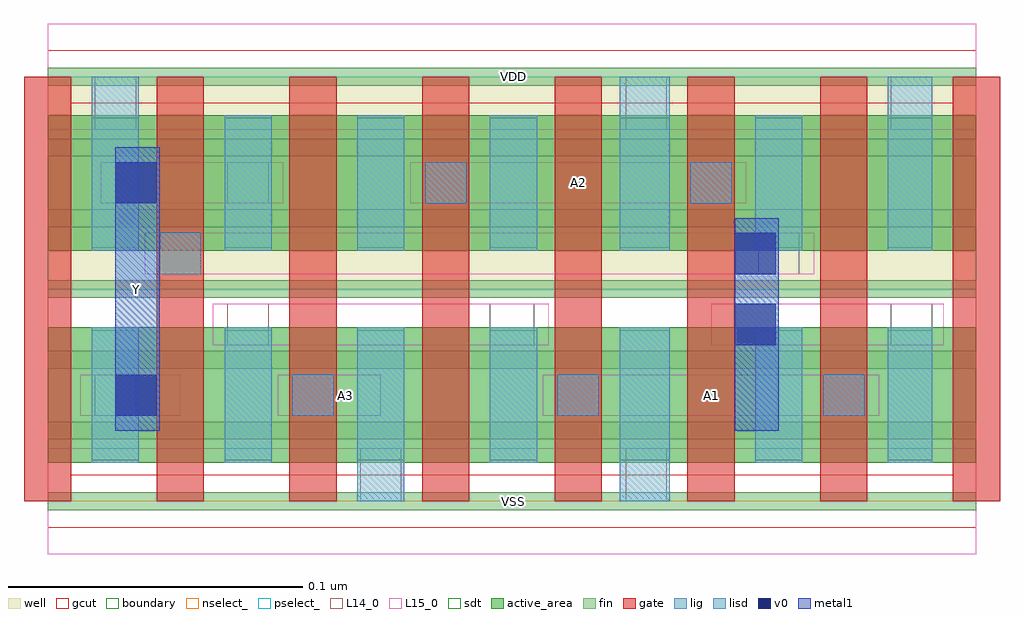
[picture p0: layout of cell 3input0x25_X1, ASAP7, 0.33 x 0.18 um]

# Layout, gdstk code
import gdstk
lib = gdstk.Library(unit=1e-6, precision=1e-09)
def R(c, l, rs):  # rectangles x0, y0, x1, y1
    for r in rs: c.add(gdstk.rectangle(r[:2], r[2:], *l))
def A(c, l, x, y, w, h, nx, ny, dx, dy):  # array of equal rectangles
    R(c, l, [(x+i*dx, y+j*dy, x+i*dx+w, y+j*dy+h) for i in range(nx) for j in range(ny)])
def P(c, l, *ps):  # polygons
    for p in ps: c.add(gdstk.Polygon(p, *l))
well = (1, 0)
fin = (2, 0)
gate = (7, 0)
gcut = (10, 0)
active_area = (11, 0)
nselect_ = (12, 0)
pselect_ = (13, 0)
L14_0 = (14, 0)
L15_0 = (15, 0)
lig = (16, 0)
lisd = (17, 0)
v0 = (18, 0)
metal1 = (19, 0)
sdt = (88, 0)
boundary = (100, 0)

c_3input0x25_x1 = lib.new_cell('3input0x25_X1')
R(c_3input0x25_x1, well, [(0,0.072,0.315,0.144)])
A(c_3input0x25_x1, fin, 0, -0.003, 0.315, 0.006, 1, 7, 0, 0.024)
A(c_3input0x25_x1, gate, -0.008, 0, 0.016, 0.144, 8, 1, 0.045, 0)
P(c_3input0x25_x1, gcut, [(0,-0.009),(0,0),(-0.008,0),(-0.008,0.135),(0.008,0.135),(0.008,0.009),(0.307,0.009),(0.307,0.135),(-0.008,0.135),(-0.008,0.144),(0,0.144),(0,0.153),(0.315,0.153),(0.315,0.144),(0.323,0.144),(0.323,0),(0.315,0),(0.315,-0.009)])
R(c_3input0x25_x1, active_area, [(0,0.013,0.315,0.059), (0,0.085,0.315,0.131)])
R(c_3input0x25_x1, nselect_, [(0,0,0.315,0.072)])
R(c_3input0x25_x1, pselect_, [(0,0.072,0.315,0.144)])
A(c_3input0x25_x1, L14_0, 0.083, 0.029, 0.014, 0.014, 3, 1, 0.09, 0)
R(c_3input0x25_x1, L14_0, [(0.106,0,0.12,0.018), (0.196,0,0.21,0.018), (0.016,0.029,0.03,0.043), (0.061,0.053,0.075,0.067), (0.15,0.053,0.165,0.067), (0.286,0.053,0.3,0.067), (0.038,0.077,0.052,0.091), (0.241,0.077,0.255,0.091), (0.061,0.101,0.075,0.115), (0.128,0.101,0.142,0.115), (0.218,0.101,0.232,0.115), (0.016,0.126,0.03,0.144), (0.196,0.126,0.21,0.144), (0.286,0.126,0.3,0.144)])
R(c_3input0x25_x1, L15_0, [(0,-0.018,0.315,0.018), (0.011,0.029,0.045,0.043), (0.078,0.029,0.113,0.043), (0.168,0.029,0.282,0.043), (0.056,0.053,0.17,0.067), (0.225,0.053,0.304,0.067), (0.033,0.077,0.26,0.091), (0.018,0.101,0.08,0.115), (0.123,0.101,0.237,0.115), (0,0.126,0.315,0.162)])
A(c_3input0x25_x1, lig, 0.083, 0.029, 0.014, 0.014, 3, 1, 0.09, 0)
R(c_3input0x25_x1, lig, [(0.038,0.077,0.052,0.091), (0.128,0.101,0.142,0.115), (0.218,0.101,0.232,0.115)])
A(c_3input0x25_x1, lisd, 0.06, 0.013, 0.016, 0.046, 3, 1, 0.09, 0)
A(c_3input0x25_x1, lisd, 0.06, 0.085, 0.016, 0.046, 3, 1, 0.045, 0)
R(c_3input0x25_x1, lisd, [(0.105,0,0.121,0.059), (0.194,0,0.211,0.059), (0.015,0.013,0.031,0.059), (0.285,0.013,0.3,0.059), (0.015,0.085,0.031,0.144), (0.194,0.085,0.211,0.144), (0.24,0.085,0.256,0.131), (0.285,0.085,0.3,0.144)])
R(c_3input0x25_x1, v0, [(0.023,0.029,0.037,0.043), (0.233,0.053,0.247,0.067), (0.233,0.077,0.247,0.091), (0.023,0.101,0.037,0.115)])
R(c_3input0x25_x1, metal1, [(0.023,0.024,0.038,0.12), (0.233,0.024,0.248,0.096)])
A(c_3input0x25_x1, sdt, 0.015, 0.014, 0.016, 0.044, 4, 2, 0.045, 0.072)
R(c_3input0x25_x1, sdt, [(0.194,0.014,0.211,0.058), (0.24,0.014,0.256,0.058), (0.285,0.014,0.3,0.058), (0.194,0.086,0.211,0.13), (0.24,0.086,0.256,0.13), (0.285,0.086,0.3,0.13)])
R(c_3input0x25_x1, boundary, [(0,0,0.315,0.144)])
c_3input0x25_x1.add(gdstk.Label('A2', (0.18,0.108), layer=15, texttype=251))
c_3input0x25_x1.add(gdstk.Label('VSS', (0.158,0), layer=15, texttype=251))
c_3input0x25_x1.add(gdstk.Label('VDD', (0.158,0.144), layer=15, texttype=251))
c_3input0x25_x1.add(gdstk.Label('A1', (0.225,0.036), layer=15, texttype=251))
c_3input0x25_x1.add(gdstk.Label('VSS', (0.158,0), layer=15, texttype=251))
c_3input0x25_x1.add(gdstk.Label('VDD', (0.158,0.144), layer=15, texttype=251))
c_3input0x25_x1.add(gdstk.Label('A3', (0.101,0.036), layer=15, texttype=251))
c_3input0x25_x1.add(gdstk.Label('VSS', (0.158,0), layer=15, texttype=251))
c_3input0x25_x1.add(gdstk.Label('VDD', (0.158,0.144), layer=15, texttype=251))
c_3input0x25_x1.add(gdstk.Label('VSS', (0.158,0), layer=15, texttype=251))
c_3input0x25_x1.add(gdstk.Label('VDD', (0.158,0.144), layer=15, texttype=251))
c_3input0x25_x1.add(gdstk.Label('VSS', (0.158,0), layer=3, texttype=251))
c_3input0x25_x1.add(gdstk.Label('VSS', (0.158,0), layer=3, texttype=251))
c_3input0x25_x1.add(gdstk.Label('VSS', (0.158,0), layer=3, texttype=251))
c_3input0x25_x1.add(gdstk.Label('VSS', (0.158,0), layer=3, texttype=251))
c_3input0x25_x1.add(gdstk.Label('VDD', (0.158,0.144), layer=1, texttype=251))
c_3input0x25_x1.add(gdstk.Label('VDD', (0.158,0.144), layer=1, texttype=251))
c_3input0x25_x1.add(gdstk.Label('VDD', (0.158,0.144), layer=1, texttype=251))
c_3input0x25_x1.add(gdstk.Label('VDD', (0.158,0.144), layer=1, texttype=251))
c_3input0x25_x1.add(gdstk.Label('Y', (0.03,0.072), layer=19, texttype=251))

lib.write_gds('3input0x25_X1.gds')
